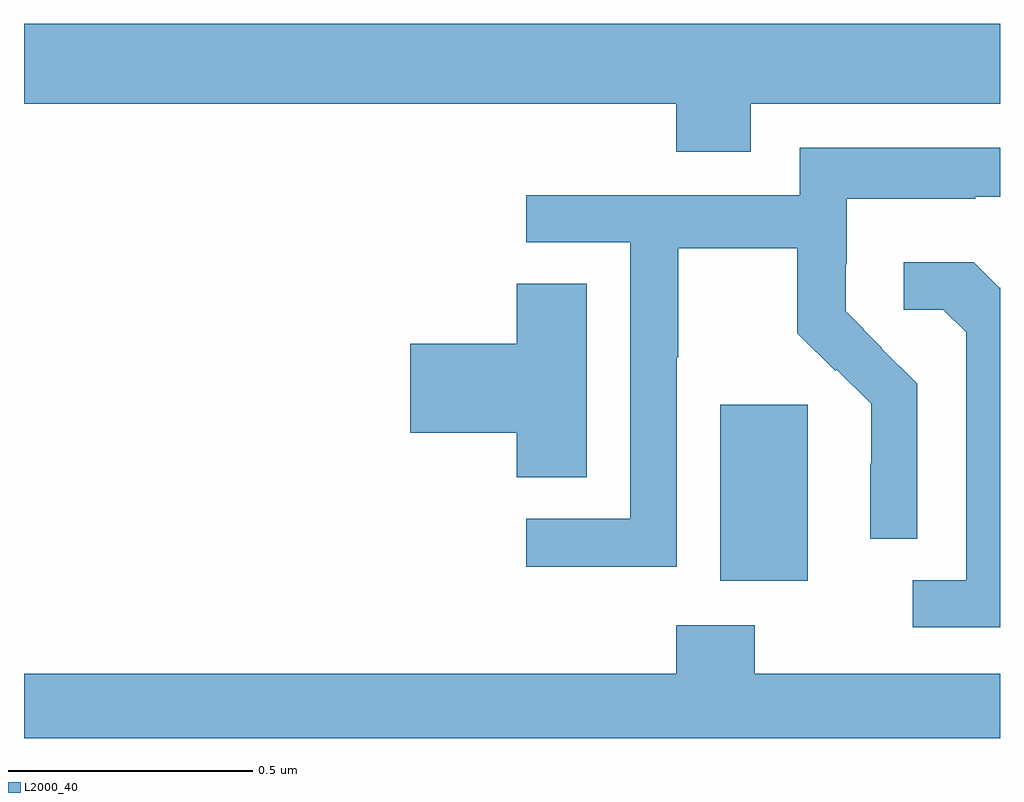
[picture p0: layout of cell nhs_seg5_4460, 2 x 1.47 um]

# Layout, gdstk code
import gdstk
lib = gdstk.Library(unit=1e-6, precision=1e-09)
def R(c, l, rs):  # rectangles x0, y0, x1, y1
    for r in rs: c.add(gdstk.rectangle(r[:2], r[2:], *l))
def P(c, l, *ps):  # polygons
    for p in ps: c.add(gdstk.Polygon(p, *l))
L2000_40 = (2000, 40)

nhs_seg5_4460 = lib.new_cell('nhs_seg5_4460')
R(nhs_seg5_4460, L2000_40, [(172.427,849.122,172.606,849.483)])
P(nhs_seg5_4460, L2000_40, [(172.489,850.1),(173,850.1),(173,850.264),(171,850.264),(171,850.1),(172.337,850.1),(172.337,850.001),(172.489,850.001)],
  [(172.338,849.58),(172.341,849.58),(172.341,849.804),(172.585,849.804),(172.585,849.629),(172.662,849.552),(172.665,849.555),(172.736,849.485),(172.736,849.362),(172.734,849.362),(172.734,849.208),(172.83,849.208),(172.83,849.526),(172.757,849.599),(172.758,849.6),(172.684,849.674),(172.684,849.771),(172.686,849.771),(172.686,849.905),(172.949,849.905),(172.949,849.909),(173,849.909),(173,850.009),(172.59,850.009),(172.59,849.912),(172.029,849.912),(172.029,849.816),(172.242,849.816),(172.242,849.249),(172.029,849.249),(172.029,849.151),(172.338,849.151)],
  [(173,849.723),(172.998,849.723),(172.946,849.775),(172.803,849.775),(172.803,849.678),(172.884,849.678),(172.931,849.631),(172.931,849.123),(172.821,849.123),(172.821,849.027),(173,849.027)],
  [(172.153,849.731),(172.01,849.731),(172.01,849.608),(171.792,849.608),(171.792,849.425),(172.01,849.425),(172.01,849.334),(172.153,849.334)],
  [(173,848.932),(172.497,848.932),(172.497,849.031),(172.337,849.031),(172.337,848.932),(171,848.932),(171,848.799),(173,848.799)])

lib.write_gds('nhs_seg5_4460.gds')
